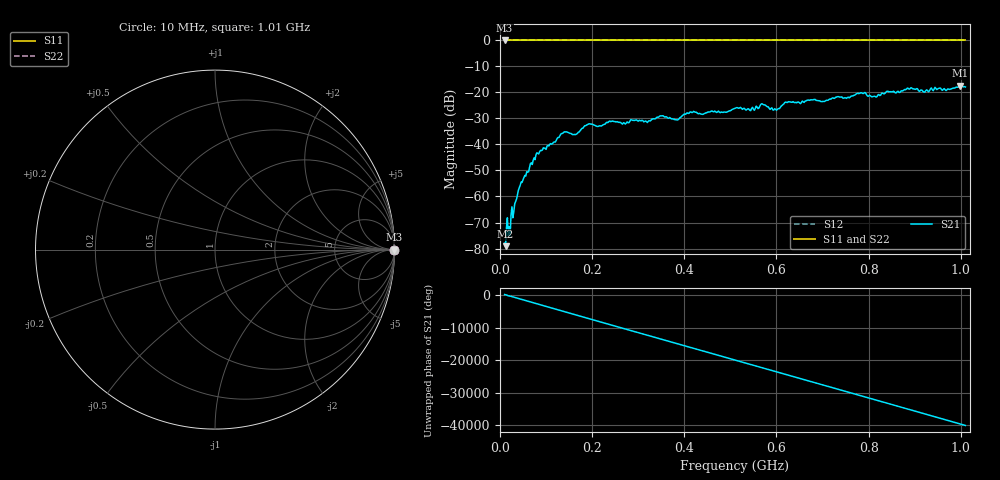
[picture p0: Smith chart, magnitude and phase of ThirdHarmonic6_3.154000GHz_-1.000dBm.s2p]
! 8/17/2025 9:27:10 AM
! C:\ANRITSUVNA\TEMP\TEMP.S2P
! CHANNEL.1
! TR.MEASUREMENT
! RAW.DATA
! RF.CORRECTION.OFF
! AVERAGING.OFF
! IF.BANDWIDTH: 5KHZ
! SWEEPTYPE:  FREQ.SWEEP(Linear)
! Reference Plane Port Info
! PORT:  PORT1  PORT2
! DISTANCE:  0  m  0  m
! TIME:  0  s  0  s
! PHASE.OFFSET:  0  deg.  0  deg.
! LOSS:  0  dB  0  dB
! REF.LOSS:  0  dB  0  dB
! REF.FREQ:  0  Hz  0  Hz
! Power Info
! POWER:  -20  dBm  -20  dBm
! EFF.POWER:  -20  dBm  -20  dBm
! SOURCE.ATTEN:  0  dB  0  dB
! TEST.ATTEN:  0  dB  0  dB
# GHZ S RI R 50.0
! FREQ.GHZ  S11RE  S11IM  S21RE  S21IM  S12RE  S12IM  S22RE  S22IM
!; PortSelection: Port_12
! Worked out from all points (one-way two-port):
!   501 points, 10 MHz to 1.01 GHz, reference 50 ohm
!   highest |S21| = -17.33 dB at 998 MHz (marker M1); lowest = -79.1 dB at 12 MHz (marker M2)
!   lowest |S11| = 0.0 dB at 10 MHz (marker M3)
!   |S11| at or under -10 dB: nowhere
!   |S22| runs from 0.0 to 0.0 dB; largest |S21 - S12| = 1.1
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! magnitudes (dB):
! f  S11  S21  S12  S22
! 10 MHz  0.0  -77.9  0.0  0.0
! 12 MHz  0.0  -79.1  0.0  0.0
! 22 MHz  0.0  -75.0  0.0  0.0
! 42 MHz  0.0  -56.6  0.0  0.0
! 78 MHz  0.0  -44.0  0.0  0.0
! 136 MHz  0.0  -35.8  0.0  0.0
! 162 MHz  0.0  -36.2  0.0  0.0
! 178 MHz  0.0  -33.8  0.0  0.0
! 194 MHz  0.0  -32.0  0.0  0.0
! 344 MHz  0.0  -29.5  0.0  0.0
! 384 MHz  0.0  -30.6  0.0  0.0
! 416 MHz  0.0  -27.7  0.0  0.0
! 510 MHz  0.0  -26.1  0.0  0.0
! 570 MHz  0.0  -24.5  0.0  0.0
! 596 MHz  0.0  -26.3  0.0  0.0
! 622 MHz  0.0  -23.8  0.0  0.0
! 678 MHz  0.0  -22.9  0.0  0.0
! 780 MHz  0.0  -20.4  0.0  0.0
! 814 MHz  0.0  -21.5  0.0  0.0
! 844 MHz  0.0  -19.7  0.0  0.0
! 998 MHz  0.0  -17.3  0.0  0.0
! 1.01 GHz  0.0  -17.9  0.0  0.0
